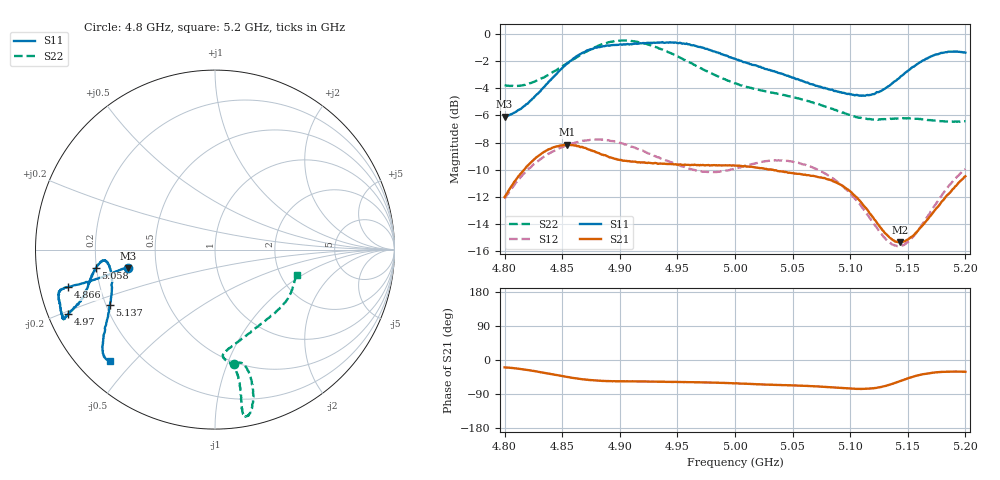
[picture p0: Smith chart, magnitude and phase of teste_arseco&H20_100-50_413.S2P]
! Network Analyzer HP8722D
! Hewlett-Packard
! Data name: Linha & Wilkinson
! Saver's name: Rodrigo Anjos
! Comments: Teste da utilização de aquisição
! continua pelo VNA HP8722D
! Time and date: 6/5/2025 16:00
!  Frequency  S11  S21  S12  S22
# HZ  S  MA R 50
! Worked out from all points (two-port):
!   401 points, 4.8 GHz to 5.2 GHz, reference 50 ohm
!   highest |S21| = -8.16 dB at 4.854 GHz (marker M1); lowest = -15.3 dB at 5.143 GHz (marker M2)
!   |S21| within 3 dB of the highest: 4.806 GHz to 5.093 GHz (286.7 MHz wide, 5.79 % of centre); 5.192086 GHz to end of sweep
!   lowest |S11| = -6.1 dB at 4.8 GHz (marker M3), VSWR 2.97, Z = 17 - j4.62 ohm
!   |S11| at or under -10 dB: nowhere
!   |S22| runs from -6.5 to -0.5 dB; largest |S21 - S12| = 0.62
!   S11 on the Smith chart (normalised r, x): 4.8 GHz: 0.34, -0.09; 4.866 GHz: 0.09, -0.12; 4.97 GHz: 0.06, -0.21; 5.058 GHz: 0.20, -0.07; 5.137 GHz: 0.22, -0.23; 5.2 GHz: 0.09, -0.43
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4.8e9  0.4959 -168.1  0.251 -19.5  0.2476 -140.6  0.6478 -80.4
4.828e9  0.5989 -167.0  0.3523 -30.4  0.3384 -144.6  0.6734 -75.4
4.854e9  0.7762 -165.7  0.3909 -44.7  0.3892 -149.6  0.7784 -74.7
4.866e9  0.8436 -165.7  0.3831 -50.2  0.4026 -151.6  0.8353 -75.2
4.867e9  0.8481 -165.7  0.3844 -50.6  0.4032 -151.8  0.8433 -75.3
4.88e9  0.889 -165.4  0.3664 -54.4  0.4091 -154.0  0.899 -76.6
4.901e9  0.915 -162.2  0.3438 -56.2  0.3968 -156.6  0.945 -79.2
4.934e9  0.9285 -156.2  0.3329 -57.4  0.3514 -155.5  0.883 -80.3
4.97e9  0.8947 -156.3  0.3296 -59.1  0.3126 -146.9  0.7484 -79.6
5e9  0.8097 -158.8  0.3277 -61.6  0.3195 -137.1  0.6576 -81.2
5.036e9  0.7241 -165.4  0.3146 -65.9  0.3422 -134.2  0.6041 -85.6
5.058e9  0.6736 -171.1  0.3046 -67.9  0.332 -135.8  0.5741 -84.5
5.067e9  0.6527 -172.9  0.3006 -69.0  0.3233 -136.6  0.5601 -82.7
5.087e9  0.6169 -174.4  0.2849 -72.9  0.2899 -138.4  0.5249 -74.8
5.103e9  0.5965 -171.5  0.2563 -75.9  0.251 -138.6  0.4974 -65.3
5.116e9  0.5949 -165.4  0.2219 -75.9  0.2134 -135.5  0.4858 -55.8
5.134e9  0.644 -154.2  0.1788 -65.5  0.1709 -120.9  0.4856 -43.4
5.137e9  0.6607 -152.4  0.1745 -62.5  0.1678 -117.0  0.4874 -41.5
5.143e9  0.6904 -149.2  0.1709 -55.9  0.1658 -109.2  0.4877 -38.1
5.154e9  0.7551 -144.4  0.1801 -44.4  0.1786 -95.1  0.4884 -32.3
5.172e9  0.8322 -138.9  0.2206 -33.5  0.2292 -81.1  0.48 -24.6
5.2e9  0.8525 -133.4  0.2995 -31.2  0.3183 -76.7  0.4772 -17.5
